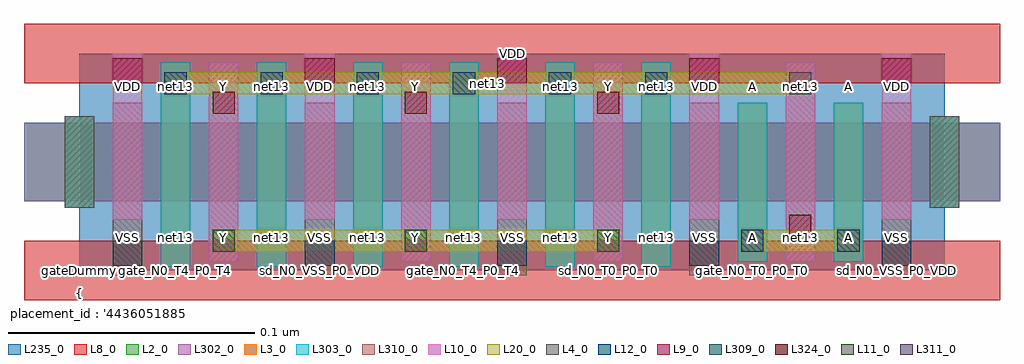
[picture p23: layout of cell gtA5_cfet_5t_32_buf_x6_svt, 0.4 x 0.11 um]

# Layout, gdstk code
import gdstk
lib = gdstk.Library(unit=1e-6, precision=2.5e-10)
def R(c, l, rs):  # rectangles x0, y0, x1, y1
    for r in rs: c.add(gdstk.rectangle(r[:2], r[2:], *l))
def A(c, l, x, y, w, h, nx, ny, dx, dy):  # array of equal rectangles
    R(c, l, [(x+i*dx, y+j*dy, x+i*dx+w, y+j*dy+h) for i in range(nx) for j in range(ny)])
L2_0 = (2, 0)
L3_0 = (3, 0)
L4_0 = (4, 0)
L8_0 = (8, 0)
L9_0 = (9, 0)
L10_0 = (10, 0)
L11_0 = (11, 0)
L12_0 = (12, 0)
L20_0 = (20, 0)
L235_0 = (235, 0)
L302_0 = (302, 0)
L303_0 = (303, 0)
L309_0 = (309, 0)
L310_0 = (310, 0)
L311_0 = (311, 0)
L324_0 = (324, 0)

gta5_cfet_5t_32_buf_x6_s = lib.new_cell('gtA5_cfet_5t_32_buf_x6_svt')
R(gta5_cfet_5t_32_buf_x6_s, L2_0, [(-0.0225,0.028,0.3735,0.06)])
A(gta5_cfet_5t_32_buf_x6_s, L3_0, 0.033, 0.0015, 0.012, 0.083, 6, 1, 0.039, 0)
R(gta5_cfet_5t_32_buf_x6_s, L3_0, [(0.267,0.0035,0.279,0.068), (0.306,0.0035,0.318,0.068), (-0.006,0.0255,0.006,0.0625), (0.345,0.0255,0.357,0.0625)])
R(gta5_cfet_5t_32_buf_x6_s, L4_0, [(-0.006,0.0255,0.006,0.0625), (0.345,0.0255,0.357,0.0625)])
R(gta5_cfet_5t_32_buf_x6_s, L8_0, [(-0.0225,-0.012,0.3735,0.012), (-0.0225,0.076,0.3735,0.1)])
A(gta5_cfet_5t_32_buf_x6_s, L9_0, 0.0135, 0.076, 0.012, 0.01, 5, 1, 0.078, 0)
A(gta5_cfet_5t_32_buf_x6_s, L10_0, 0.0525, 0.0035, 0.012, 0.081, 4, 1, 0.078, 0)
A(gta5_cfet_5t_32_buf_x6_s, L10_0, 0.0135, 0.0205, 0.012, 0.0675, 5, 1, 0.078, 0)
A(gta5_cfet_5t_32_buf_x6_s, L11_0, 0.054, 0.0075, 0.009, 0.009, 3, 1, 0.078, 0)
A(gta5_cfet_5t_32_buf_x6_s, L12_0, 0.0345, 0.0715, 0.009, 0.009, 6, 1, 0.039, 0)
R(gta5_cfet_5t_32_buf_x6_s, L12_0, [(0.2685,0.0075,0.2775,0.0165), (0.3075,0.0075,0.3165,0.0165)])
R(gta5_cfet_5t_32_buf_x6_s, L20_0, [(0.054,0.0075,0.219,0.0165), (0.2685,0.0075,0.3165,0.0165), (0.0345,0.0715,0.297,0.0805)])
R(gta5_cfet_5t_32_buf_x6_s, L235_0, [(0,0,0.351,0.088)])
R(gta5_cfet_5t_32_buf_x6_s, L302_0, [(-0.0225,0.028,0.3735,0.06)])
A(gta5_cfet_5t_32_buf_x6_s, L303_0, 0.033, 0.0015, 0.012, 0.083, 6, 1, 0.039, 0)
R(gta5_cfet_5t_32_buf_x6_s, L303_0, [(0.267,0.0035,0.279,0.068), (0.306,0.0035,0.318,0.068), (-0.006,0.0255,0.006,0.0625), (0.345,0.0255,0.357,0.0625)])
A(gta5_cfet_5t_32_buf_x6_s, L309_0, 0.0135, 0.002, 0.012, 0.01, 5, 1, 0.078, 0)
A(gta5_cfet_5t_32_buf_x6_s, L310_0, 0.0135, -0.002, 0.012, 0.07, 5, 1, 0.078, 0)
A(gta5_cfet_5t_32_buf_x6_s, L310_0, 0.0525, 0.0035, 0.012, 0.081, 4, 1, 0.078, 0)
R(gta5_cfet_5t_32_buf_x6_s, L311_0, [(0.288,0.0715,0.297,0.0805)])
A(gta5_cfet_5t_32_buf_x6_s, L324_0, 0.054, 0.0635, 0.009, 0.009, 3, 1, 0.078, 0)
R(gta5_cfet_5t_32_buf_x6_s, L324_0, [(0.288,0.0135,0.297,0.0225)])
gta5_cfet_5t_32_buf_x6_s.add(gdstk.Label('net13', (0.1658,0.076), layer=100, texttype=100))
gta5_cfet_5t_32_buf_x6_s.add(gdstk.Label('gateDummy', (0,0), layer=103, texttype=103))
gta5_cfet_5t_32_buf_x6_s.add(gdstk.Label('sd_N0_VSS_P0_VDD', (0.0195,0), layer=103, texttype=103))
gta5_cfet_5t_32_buf_x6_s.add(gdstk.Label('gate_N0_T4_P0_T4', (0.039,0), layer=103, texttype=103))
gta5_cfet_5t_32_buf_x6_s.add(gdstk.Label('sd_N0_T0_P0_T0', (0.0585,0), layer=103, texttype=103))
gta5_cfet_5t_32_buf_x6_s.add(gdstk.Label('gate_N0_T4_P0_T4', (0.078,0), layer=103, texttype=103))
gta5_cfet_5t_32_buf_x6_s.add(gdstk.Label('sd_N0_VSS_P0_VDD', (0.0975,0), layer=103, texttype=103))
gta5_cfet_5t_32_buf_x6_s.add(gdstk.Label('gate_N0_T4_P0_T4', (0.117,0), layer=103, texttype=103))
gta5_cfet_5t_32_buf_x6_s.add(gdstk.Label('sd_N0_T0_P0_T0', (0.1365,0), layer=103, texttype=103))
gta5_cfet_5t_32_buf_x6_s.add(gdstk.Label('gate_N0_T4_P0_T4', (0.156,0), layer=103, texttype=103))
gta5_cfet_5t_32_buf_x6_s.add(gdstk.Label('sd_N0_VSS_P0_VDD', (0.1755,0), layer=103, texttype=103))
gta5_cfet_5t_32_buf_x6_s.add(gdstk.Label('gate_N0_T4_P0_T4', (0.195,0), layer=103, texttype=103))
gta5_cfet_5t_32_buf_x6_s.add(gdstk.Label('sd_N0_T0_P0_T0', (0.2145,0), layer=103, texttype=103))
gta5_cfet_5t_32_buf_x6_s.add(gdstk.Label('gate_N0_T4_P0_T4', (0.234,0), layer=103, texttype=103))
gta5_cfet_5t_32_buf_x6_s.add(gdstk.Label('sd_N0_VSS_P0_VDD', (0.2535,0), layer=103, texttype=103))
gta5_cfet_5t_32_buf_x6_s.add(gdstk.Label('gate_N0_T0_P0_T0', (0.273,0), layer=103, texttype=103))
gta5_cfet_5t_32_buf_x6_s.add(gdstk.Label('sd_N0_T4_P0_T4', (0.2925,0), layer=103, texttype=103))
gta5_cfet_5t_32_buf_x6_s.add(gdstk.Label('gate_N0_T0_P0_T0', (0.312,0), layer=103, texttype=103))
gta5_cfet_5t_32_buf_x6_s.add(gdstk.Label('sd_N0_VSS_P0_VDD', (0.3315,0), layer=103, texttype=103))
gta5_cfet_5t_32_buf_x6_s.add(gdstk.Label('gateDummy', (0.351,0), layer=103, texttype=103))
gta5_cfet_5t_32_buf_x6_s.add(gdstk.Label('}', (0,-0.0963), layer=104, texttype=104))
gta5_cfet_5t_32_buf_x6_s.add(gdstk.Label('  power : None', (0,-0.0875), layer=104, texttype=104))
gta5_cfet_5t_32_buf_x6_s.add(gdstk.Label('  performance : None', (0,-0.0788), layer=104, texttype=104))
gta5_cfet_5t_32_buf_x6_s.add(gdstk.Label("  solution_hash : '14319380251634548444'", (0,-0.07), layer=104, texttype=104))
gta5_cfet_5t_32_buf_x6_s.add(gdstk.Label('  number_m2 : 0', (0,-0.0612), layer=104, texttype=104))
gta5_cfet_5t_32_buf_x6_s.add(gdstk.Label('  number_m1 : 0', (0,-0.0525), layer=104, texttype=104))
gta5_cfet_5t_32_buf_x6_s.add(gdstk.Label('  number_m0cuts : 0', (0,-0.0438), layer=104, texttype=104))
gta5_cfet_5t_32_buf_x6_s.add(gdstk.Label('  number_m0 : 3', (0,-0.035), layer=104, texttype=104))
gta5_cfet_5t_32_buf_x6_s.add(gdstk.Label("  solution_number : '0000'", (0,-0.0262), layer=104, texttype=104))
gta5_cfet_5t_32_buf_x6_s.add(gdstk.Label("  placement_id : '4436051885917977567'", (0,-0.0175), layer=104, texttype=104))
gta5_cfet_5t_32_buf_x6_s.add(gdstk.Label('{', (0,-0.0088), layer=104, texttype=104))
gta5_cfet_5t_32_buf_x6_s.add(gdstk.Label('VSS', (0.0195,0.0132), layer=105, texttype=105))
gta5_cfet_5t_32_buf_x6_s.add(gdstk.Label('net13', (0.039,0.0132), layer=105, texttype=105))
gta5_cfet_5t_32_buf_x6_s.add(gdstk.Label('Y', (0.0585,0.0132), layer=105, texttype=105))
gta5_cfet_5t_32_buf_x6_s.add(gdstk.Label('net13', (0.078,0.0132), layer=105, texttype=105))
gta5_cfet_5t_32_buf_x6_s.add(gdstk.Label('VSS', (0.0975,0.0132), layer=105, texttype=105))
gta5_cfet_5t_32_buf_x6_s.add(gdstk.Label('net13', (0.117,0.0132), layer=105, texttype=105))
gta5_cfet_5t_32_buf_x6_s.add(gdstk.Label('Y', (0.1365,0.0132), layer=105, texttype=105))
gta5_cfet_5t_32_buf_x6_s.add(gdstk.Label('net13', (0.156,0.0132), layer=105, texttype=105))
gta5_cfet_5t_32_buf_x6_s.add(gdstk.Label('VSS', (0.1755,0.0132), layer=105, texttype=105))
gta5_cfet_5t_32_buf_x6_s.add(gdstk.Label('net13', (0.195,0.0132), layer=105, texttype=105))
gta5_cfet_5t_32_buf_x6_s.add(gdstk.Label('Y', (0.2145,0.0132), layer=105, texttype=105))
gta5_cfet_5t_32_buf_x6_s.add(gdstk.Label('net13', (0.234,0.0132), layer=105, texttype=105))
gta5_cfet_5t_32_buf_x6_s.add(gdstk.Label('VSS', (0.2535,0.0132), layer=105, texttype=105))
gta5_cfet_5t_32_buf_x6_s.add(gdstk.Label('A', (0.273,0.0132), layer=105, texttype=105))
gta5_cfet_5t_32_buf_x6_s.add(gdstk.Label('net13', (0.2925,0.0132), layer=105, texttype=105))
gta5_cfet_5t_32_buf_x6_s.add(gdstk.Label('A', (0.312,0.0132), layer=105, texttype=105))
gta5_cfet_5t_32_buf_x6_s.add(gdstk.Label('VSS', (0.3315,0.0132), layer=105, texttype=105))
gta5_cfet_5t_32_buf_x6_s.add(gdstk.Label('VDD', (0.0195,0.0747), layer=105, texttype=105))
gta5_cfet_5t_32_buf_x6_s.add(gdstk.Label('net13', (0.039,0.0747), layer=105, texttype=105))
gta5_cfet_5t_32_buf_x6_s.add(gdstk.Label('Y', (0.0585,0.0747), layer=105, texttype=105))
gta5_cfet_5t_32_buf_x6_s.add(gdstk.Label('net13', (0.078,0.0747), layer=105, texttype=105))
gta5_cfet_5t_32_buf_x6_s.add(gdstk.Label('VDD', (0.0975,0.0747), layer=105, texttype=105))
gta5_cfet_5t_32_buf_x6_s.add(gdstk.Label('net13', (0.117,0.0747), layer=105, texttype=105))
gta5_cfet_5t_32_buf_x6_s.add(gdstk.Label('Y', (0.1365,0.0747), layer=105, texttype=105))
gta5_cfet_5t_32_buf_x6_s.add(gdstk.Label('net13', (0.156,0.0747), layer=105, texttype=105))
gta5_cfet_5t_32_buf_x6_s.add(gdstk.Label('VDD', (0.1755,0.0747), layer=105, texttype=105))
gta5_cfet_5t_32_buf_x6_s.add(gdstk.Label('net13', (0.195,0.0747), layer=105, texttype=105))
gta5_cfet_5t_32_buf_x6_s.add(gdstk.Label('Y', (0.2145,0.0747), layer=105, texttype=105))
gta5_cfet_5t_32_buf_x6_s.add(gdstk.Label('net13', (0.234,0.0747), layer=105, texttype=105))
gta5_cfet_5t_32_buf_x6_s.add(gdstk.Label('VDD', (0.2535,0.0747), layer=105, texttype=105))
gta5_cfet_5t_32_buf_x6_s.add(gdstk.Label('A', (0.273,0.0747), layer=105, texttype=105))
gta5_cfet_5t_32_buf_x6_s.add(gdstk.Label('net13', (0.2925,0.0747), layer=105, texttype=105))
gta5_cfet_5t_32_buf_x6_s.add(gdstk.Label('A', (0.312,0.0747), layer=105, texttype=105))
gta5_cfet_5t_32_buf_x6_s.add(gdstk.Label('VDD', (0.3315,0.0747), layer=105, texttype=105))
gta5_cfet_5t_32_buf_x6_s.add(gdstk.Label('VSS', (0.1755,0), layer=8, texttype=0))
gta5_cfet_5t_32_buf_x6_s.add(gdstk.Label('VDD', (0.1755,0.088), layer=8, texttype=0))
gta5_cfet_5t_32_buf_x6_s.add(gdstk.Label('Y', (0.1365,0.012), layer=20, texttype=251))
gta5_cfet_5t_32_buf_x6_s.add(gdstk.Label('A', (0.2925,0.012), layer=20, texttype=251))
gta5_cfet_5t_32_buf_x6_s.add(gdstk.Label('gtA5_cfet_5t_32_buf_x6_rvt_0', (0,0), layer=235, texttype=0))

lib.write_gds('gtA5_cfet_5t_32_buf_x6_svt.gds')
